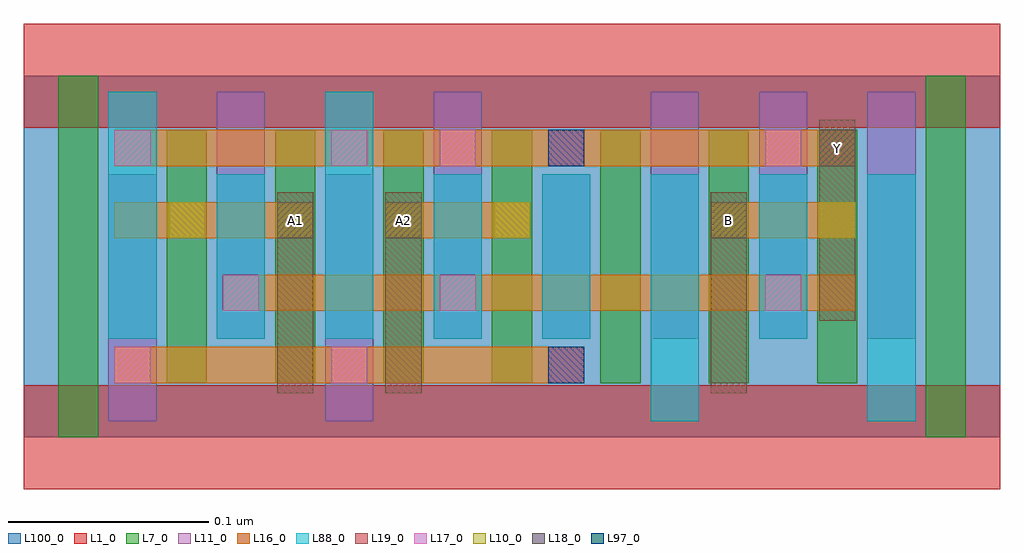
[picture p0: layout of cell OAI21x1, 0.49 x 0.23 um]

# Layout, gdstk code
import gdstk
lib = gdstk.Library(unit=1e-6, precision=2.5e-10)
def R(c, l, rs):  # rectangles x0, y0, x1, y1
    for r in rs: c.add(gdstk.rectangle(r[:2], r[2:], *l))
def A(c, l, x, y, w, h, nx, ny, dx, dy):  # array of equal rectangles
    R(c, l, [(x+i*dx, y+j*dy, x+i*dx+w, y+j*dy+h) for i in range(nx) for j in range(ny)])
L1_0 = (1, 0)
L7_0 = (7, 0)
L10_0 = (10, 0)
L11_0 = (11, 0)
L16_0 = (16, 0)
L17_0 = (17, 0)
L18_0 = (18, 0)
L19_0 = (19, 0)
L88_0 = (88, 0)
L97_0 = (97, 0)
L100_0 = (100, 0)

oai21x1 = lib.new_cell('OAI21x1')
R(oai21x1, L1_0, [(0,-0.026,0.486,0.026), (0,0.154,0.486,0.206)])
A(oai21x1, L7_0, 0.071, 0.027, 0.02, 0.126, 7, 1, 0.054, 0)
R(oai21x1, L7_0, [(0.017,0,0.037,0.18), (0.449,0,0.469,0.18)])
A(oai21x1, L10_0, 0.072, 0.099, 0.018, 0.018, 4, 1, 0.054, 0)
R(oai21x1, L10_0, [(0.342,0.099,0.36,0.117), (0.396,0.099,0.414,0.117)])
A(oai21x1, L11_0, 0.096, 0.049, 0.024, 0.123, 3, 1, 0.108, 0)
R(oai21x1, L11_0, [(0.042,0.008,0.066,0.131), (0.15,0.008,0.174,0.131), (0.258,0.049,0.282,0.131), (0.366,0.049,0.39,0.172), (0.42,0.049,0.444,0.172)])
R(oai21x1, L16_0, [(0.045,0.027,0.279,0.045), (0.099,0.063,0.414,0.081), (0.045,0.099,0.144,0.117), (0.18,0.099,0.252,0.117), (0.342,0.099,0.414,0.117), (0.045,0.135,0.414,0.153)])
A(oai21x1, L17_0, 0.045, 0.027, 0.018, 0.018, 3, 1, 0.108, 0)
A(oai21x1, L17_0, 0.153, 0.135, 0.018, 0.018, 3, 1, 0.054, 0)
R(oai21x1, L17_0, [(0.099,0.063,0.117,0.081), (0.207,0.063,0.225,0.081), (0.369,0.063,0.387,0.081), (0.045,0.135,0.063,0.153), (0.369,0.135,0.387,0.153)])
R(oai21x1, L18_0, [(0.126,0.099,0.144,0.117), (0.18,0.099,0.198,0.117), (0.342,0.099,0.36,0.117), (0.396,0.135,0.414,0.153)])
R(oai21x1, L19_0, [(0.126,0.022,0.144,0.122), (0.18,0.022,0.198,0.122), (0.342,0.022,0.36,0.122), (0.396,0.058,0.414,0.158)])
R(oai21x1, L88_0, [(0.312,0.008,0.336,0.131), (0.42,0.008,0.444,0.131), (0.042,0.049,0.066,0.172), (0.096,0.049,0.12,0.131), (0.15,0.049,0.174,0.172), (0.204,0.049,0.228,0.131), (0.258,0.049,0.282,0.131), (0.366,0.049,0.39,0.131)])
R(oai21x1, L97_0, [(0.261,0.027,0.279,0.045), (0.261,0.135,0.279,0.153)])
R(oai21x1, L100_0, [(0,0,0.486,0.18)])
oai21x1.add(gdstk.Label('A1', (0.135,0.108), layer=19, texttype=251))
oai21x1.add(gdstk.Label('A2', (0.189,0.108), layer=19, texttype=251))
oai21x1.add(gdstk.Label('B', (0.351,0.108), layer=19, texttype=251))
oai21x1.add(gdstk.Label('Y', (0.405,0.144), layer=19, texttype=251))

lib.write_gds('OAI21x1.gds')
